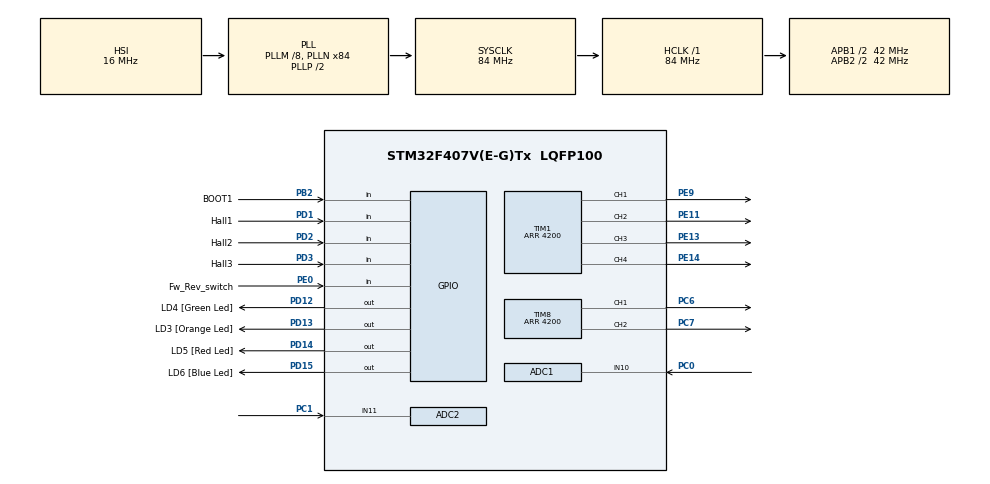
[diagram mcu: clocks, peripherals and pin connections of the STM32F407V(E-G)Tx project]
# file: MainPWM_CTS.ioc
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ADC1.Channel-4\#ChannelRegularConversion=ADC_CHANNEL_10
ADC1.ClockPrescaler=ADC_CLOCK_SYNC_PCLK_DIV2
ADC1.ContinuousConvMode=DISABLE
ADC1.DMAContinuousRequests=DISABLE
ADC1.DataAlign=ADC_DATAALIGN_RIGHT
ADC1.DiscontinuousConvMode=DISABLE
ADC1.EOCSelection=ADC_EOC_SEQ_CONV
ADC1.EnableAnalogWatchDog=false
ADC1.ExternalTrigConvEdge=ADC_EXTERNALTRIGCONVEDGE_NONE
ADC1.InjNumberOfConversion=0
ADC1.NbrOfConversion=1
ADC1.NbrOfConversionFlag=1
ADC1.Rank-4\#ChannelRegularConversion=1
ADC1.Resolution=ADC_RESOLUTION_12B
ADC1.SamplingTime-4\#ChannelRegularConversion=ADC_SAMPLETIME_3CYCLES
ADC1.ScanConvMode=DISABLE
ADC1.master=1
ADC2.Channel-0\#ChannelRegularConversion=ADC_CHANNEL_11
ADC2.ClockPrescaler=ADC_CLOCK_SYNC_PCLK_DIV2
ADC2.ContinuousConvMode=DISABLE
ADC2.DMAContinuousRequests=DISABLE
ADC2.DataAlign=ADC_DATAALIGN_RIGHT
ADC2.DiscontinuousConvMode=DISABLE
ADC2.EOCSelection=ADC_EOC_SEQ_CONV
ADC2.EnableAnalogWatchDog=false
ADC2.ExternalTrigConvEdge=ADC_EXTERNALTRIGCONVEDGE_NONE
ADC2.InjNumberOfConversion=0
ADC2.NbrOfConversion=1
ADC2.NbrOfConversionFlag=1
ADC2.Rank-0\#ChannelRegularConversion=1
ADC2.Resolution=ADC_RESOLUTION_12B
ADC2.SamplingTime-0\#ChannelRegularConversion=ADC_SAMPLETIME_3CYCLES
ADC2.ScanConvMode=DISABLE
Mcu.Family=STM32F4
Mcu.Name=STM32F407V(E-G)Tx
Mcu.Package=LQFP100
NVIC.PriorityGroup=NVIC_PRIORITYGROUP_0
NVIC.TIM3_IRQn=true\:0\:0\:false\:false\:true
PB2.GPIO_Label=BOOT1
PB2.GPIO_Mode=GPIO_MODE_INPUT
PB2.GPIO_PuPd=GPIO_NOPULL
PB2.Signal=GPIO_Input
PB3.GPIO_Label=SWO
PB3.Signal=SYS_JTDO-SWO
PC0.Signal=ADCx_IN10
PC1.Signal=ADCx_IN11
PC14-OSC32_IN.GPIO_Label=PC14-OSC32_IN
PC14-OSC32_IN.Signal=RCC_OSC32_IN
PC15-OSC32_OUT.GPIO_Label=PC15-OSC32_OUT
PC15-OSC32_OUT.Signal=RCC_OSC32_OUT
PC6.Signal=S_TIM8_CH1
PC7.Signal=S_TIM8_CH2
PD1.GPIO_Label=Hall1
PD1.Signal=GPIO_Input
PD12.GPIO_Label=LD4 [Green Led]
PD12.GPIO_PuPd=GPIO_NOPULL
PD12.GPIO_Speed=GPIO_SPEED_FREQ_LOW
PD12.Signal=GPIO_Output
PD13.GPIO_Label=LD3 [Orange Led]
PD13.GPIO_PuPd=GPIO_NOPULL
PD13.GPIO_Speed=GPIO_SPEED_FREQ_LOW
PD13.Signal=GPIO_Output
PD14.GPIO_Label=LD5 [Red Led]
PD14.GPIO_PuPd=GPIO_NOPULL
PD14.GPIO_Speed=GPIO_SPEED_FREQ_LOW
PD14.Signal=GPIO_Output
PD15.GPIO_Label=LD6 [Blue Led]
PD15.GPIO_PuPd=GPIO_NOPULL
PD15.GPIO_Speed=GPIO_SPEED_FREQ_LOW
PD15.Signal=GPIO_Output
PD2.GPIO_Label=Hall2
PD2.Signal=GPIO_Input
PD3.GPIO_Label=Hall3
PD3.Signal=GPIO_Input
PE0.GPIO_Label=Fw_Rev_switch
PE0.GPIO_PuPd=GPIO_PULLUP
PE0.Signal=GPIO_Input
PE11.Signal=S_TIM1_CH2
PE13.Signal=S_TIM1_CH3
PE14.Signal=S_TIM1_CH4
PE9.Signal=S_TIM1_CH1
PH0-OSC_IN.GPIO_Label=PH0-OSC_IN
PH0-OSC_IN.Signal=RCC_OSC_IN
PH1-OSC_OUT.GPIO_Label=PH1-OSC_OUT
PH1-OSC_OUT.Signal=RCC_OSC_OUT
ProjectManager.HeapSize=0x200
ProjectManager.StackSize=0x400
ProjectManager.TargetToolchain=MDK-ARM V5
RCC.48MHZClocksFreq_Value=24000000
RCC.AHBFreq_Value=84000000
RCC.APB1CLKDivider=RCC_HCLK_DIV2
RCC.APB1Freq_Value=42000000
RCC.APB1TimFreq_Value=84000000
RCC.APB2CLKDivider=RCC_HCLK_DIV2
RCC.APB2Freq_Value=42000000
RCC.APB2TimFreq_Value=84000000
RCC.CortexFreq_Value=84000000
RCC.HCLKFreq_Value=84000000
RCC.HSE_VALUE=8000000
RCC.HSI_VALUE=16000000
RCC.LSE_VALUE=32768
RCC.PLLM=8
RCC.PLLN=84
RCC.PLLQ=7
RCC.SYSCLKFreq_VALUE=84000000
RCC.SYSCLKSource=RCC_SYSCLKSOURCE_PLLCLK
RCC.VCOOutputFreq_Value=168000000
SH.ADCx_IN10.0=ADC1_IN10,IN10
SH.ADCx_IN11.0=ADC2_IN11,IN11
SH.S_TIM1_CH1.0=TIM1_CH1,PWM Generation1 CH1
SH.S_TIM1_CH2.0=TIM1_CH2,PWM Generation2 CH2
SH.S_TIM1_CH3.0=TIM1_CH3,PWM Generation3 CH3
SH.S_TIM1_CH4.0=TIM1_CH4,PWM Generation4 CH4
SH.S_TIM8_CH1.0=TIM8_CH1,PWM Generation1 CH1
SH.S_TIM8_CH2.0=TIM8_CH2,PWM Generation2 CH2
TIM1.Channel-PWM\ Generation2\ CH2=TIM_CHANNEL_2
TIM1.Channel-PWM\ Generation3\ CH3=TIM_CHANNEL_3
TIM1.Channel-PWM\ Generation4\ CH4=TIM_CHANNEL_4
TIM1.Period=4200
TIM1.Pulse-PWM\ Generation1\ CH1=0
TIM1.Pulse-PWM\ Generation2\ CH2=0
TIM1.Pulse-PWM\ Generation4\ CH4=0
TIM1.TIM_MasterOutputTrigger=TIM_TRGO_UPDATE
TIM1.TIM_MasterSlaveMode=TIM_MASTERSLAVEMODE_ENABLE
TIM3.Period=4200
TIM8.Channel-PWM\ Generation2\ CH2=TIM_CHANNEL_2
TIM8.Period=4200
TIM8.Pulse-PWM\ Generation1\ CH1=0
TIM8.Pulse-PWM\ Generation2\ CH2=0
TIM8.TIM_MasterOutputTrigger=TIM_TRGO_UPDATE
TIM8.TIM_MasterSlaveMode=TIM_MASTERSLAVEMODE_DISABLE
VP_TIM1_VS_ClockSourceINT.Mode=Internal
VP_TIM3_VS_ClockSourceINT.Mode=Internal
VP_TIM8_VS_ClockSourceINT.Mode=Internal
VP_TIM8_VS_ClockSourceITR.Mode=TriggerSource_ITR0
VP_TIM8_VS_ControllerModeReset.Mode=Reset Mode
board=STM32F407G-DISC1

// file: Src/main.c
/**
  ******************************************************************************
  * File Name          : main.c
  * Description        : Main program body
  ******************************************************************************
  *
  * COPYRIGHT(c) 2017 STMicroelectronics
  *
  * Redistribution and use in source and binary forms, with or without modification,
  * are permitted provided that the following conditions are met:
  *   1. Redistributions of source code must retain the above copyright notice,
  *      this list of conditions and the following disclaimer.
  *   2. Redistributions in binary form must reproduce the above copyright notice,
  *      this list of conditions and the following disclaimer in the documentation
  *      and/or other materials provided with the distribution.
  *   3. Neither the name of STMicroelectronics nor the names of its contributors
  *      may be used to endorse or promote products derived from this software
  *      without specific prior written permission.
  *
  * THIS SOFTWARE IS PROVIDED BY THE COPYRIGHT HOLDERS AND CONTRIBUTORS "AS IS"
  * AND ANY EXPRESS OR IMPLIED WARRANTIES, INCLUDING, BUT NOT LIMITED TO, THE
  * IMPLIED WARRANTIES OF MERCHANTABILITY AND FITNESS FOR A PARTICULAR PURPOSE ARE
  * DISCLAIMED. IN NO EVENT SHALL THE COPYRIGHT HOLDER OR CONTRIBUTORS BE LIABLE
  * FOR ANY DIRECT, INDIRECT, INCIDENTAL, SPECIAL, EXEMPLARY, OR CONSEQUENTIAL
  * DAMAGES (INCLUDING, BUT NOT LIMITED TO, PROCUREMENT OF SUBSTITUTE GOODS OR
  * SERVICES; LOSS OF USE, DATA, OR PROFITS; OR BUSINESS INTERRUPTION) HOWEVER
  * CAUSED AND ON ANY THEORY OF LIABILITY, WHETHER IN CONTRACT, STRICT LIABILITY,
  * OR TORT (INCLUDING NEGLIGENCE OR OTHERWISE) ARISING IN ANY WAY OUT OF THE USE
  * OF THIS SOFTWARE, EVEN IF ADVISED OF THE POSSIBILITY OF SUCH DAMAGE.
  *
  ******************************************************************************
  */
#include "stm32f4xx_hal.h"

/* USER CODE BEGIN Includes */
#include <stdbool.h>
#include <stdlib.h>
/* USER CODE END Includes */

ADC_HandleTypeDef hadc1;
ADC_HandleTypeDef hadc2;

TIM_HandleTypeDef htim1;
TIM_HandleTypeDef htim3;
TIM_HandleTypeDef htim8;

/* USER CODE BEGIN PV */
/* Private variables ---------------------------------------------------------*/
bool Phase_1_High,Phase_1_Low, Phase_2_High, Phase_2_Low, Phase_3_High, Phase_3_Low, Hall_1, Hall_2, Hall_3;

const uint8_t BRIDGE_STEPS_FORWARD[8][6] =   // Motor step //A B C
{
    { false,false   ,   false,false   ,  false,false },  // HighZ
    { false,false   ,   false, true   ,  true, false },  // h 1, step 6
    { false,true    ,   true ,false   ,  false,false },  // h 2, step 4
    { false,true    ,   false,false   ,  true ,false },  // h 3, step 5
    { true ,false   ,   false,false   ,  false,true  },  // h 4, step 2
    { true ,false   ,   false,true    ,  false,false },  // h 5, step 1
    { false,false   ,   true, false   ,  false,true  },  // h 6, step 3
    { false,false   ,   false,false   ,  false,false },  // HighZ
};

const uint8_t BRIDGE_STEPS_REVERSE[8][6] =   // Motor step //A B C
{
    { false,false   ,   false,false   ,  false,false },  // HighZ

    { false,false   ,   true ,false   ,  false, true },  // h 1, step 6
    { true ,false   ,   false,true    ,  false,false },  // h 2, step 4
    { true ,false   ,   false,false   ,  false,true  },  // h 3, step 5
    { false,true    ,   false,false   ,  true ,false },  // h 4, step 2
    { false,true    ,   true ,false   ,  false,false },  // h 5, step 1
    { false,false   ,   false, true   ,  true ,false },  // h 6, step 3

    { false,false   ,   false,false   ,  false,false },  // HighZ

};

uint32_t globalHeartbeat_50us, heartbeat_100us, heartbeat_1ms, heartbeat_10ms,led_state, hallEffectTick,diff;
uint16_t brakePedalVlaue_raw, brakePedalVlaue_scaled, accelPedalValue_scaled, accelPedalValue_raw, brakeMax_in, brakeMin_in, brakeRange, accelMax_in, accelMin_in, accelRange, hallSpeed, demandedSpeed, measuredSpeed;
uint8_t avgCurrent, currentSum, systemState, hallPosition, lastHallPosition;

float Kp, Ki;

int speedError, speedErrorSum, controlOutput;

bool pidEnabled = false;
bool gearForward = true;
bool deadManSwitch = true;
/* USER CODE END PV */

void SystemClock_Config(void);
void Error_Handler(void);
static void MX_GPIO_Init(void);
static void MX_TIM1_Init(void);
static void MX_TIM3_Init(void);
static void MX_TIM8_Init(void);
static void MX_ADC1_Init(void);
static void MX_ADC2_Init(void);

void HAL_TIM_MspPostInit(TIM_HandleTypeDef *htim);

/* USER CODE BEGIN PFP */
/* Private function prototypes -----------------------------------------------*/

/* USER CODE END PFP */

/* USER CODE BEGIN 0 */

void HAL_TIM_PeriodElapsedCallback(TIM_HandleTypeDef *htim){
    globalHeartbeat_50us++;
    //HAL_GPIO_TogglePin(GPIOD, LD3_Pin);
}

void LED_stateMachine (void) {
    switch (systemState) {
    case 0:
        if ((globalHeartbeat_50us - led_state) > 20000) {
            HAL_GPIO_TogglePin(GPIOD, LD4_Pin);
    		led_state = globalHeartbeat_50us;
    	}

    	if (Hall_1)
    		HAL_GPIO_WritePin(GPIOD, LD3_Pin, GPIO_PIN_SET);
    	else
    		HAL_GPIO_WritePin(GPIOD, LD3_Pin, GPIO_PIN_RESET);

    	if (Hall_2)
    		HAL_GPIO_WritePin(GPIOD, LD5_Pin, GPIO_PIN_SET);
    	else
    		HAL_GPIO_WritePin(GPIOD, LD5_Pin, GPIO_PIN_RESET);

    	if (Hall_3)
    		HAL_GPIO_WritePin(GPIOD, LD6_Pin, GPIO_PIN_SET);
    	else
    		HAL_GPIO_WritePin(GPIOD, LD6_Pin, GPIO_PIN_RESET);

    break;

    case 1: //hall effect problem
        if ((globalHeartbeat_50us - led_state) > 10000) {
            HAL_GPIO_WritePin(GPIOD, LD4_Pin,GPIO_PIN_RESET);

    		//toggle hall effect LEDs
    		HAL_GPIO_TogglePin(GPIOD, LD3_Pin);
    		HAL_GPIO_TogglePin(GPIOD, LD5_Pin);
    		HAL_GPIO_TogglePin(GPIOD, LD6_Pin);

    		led_state = globalHeartbeat_50us;
    	}
    break;

    case 99: //hall effect problem
      if ((globalHeartbeat_50us - led_state) > 5000) {
        HAL_GPIO_WritePin(GPIOD, LD4_Pin,GPIO_PIN_RESET);
        HAL_GPIO_WritePin(GPIOD, LD3_Pin,GPIO_PIN_RESET);
  		  HAL_GPIO_WritePin(GPIOD, LD6_Pin,GPIO_PIN_RESET);

    		//toggle red LED
    		HAL_GPIO_TogglePin(GPIOD, LD5_Pin);

    		led_state = globalHeartbeat_50us;
    	}
    break;
    }
}

/* USER CODE END 0 */

int main(void)
{

  /* USER CODE BEGIN 1 */
    //initialise counters
    globalHeartbeat_50us = 0;
    heartbeat_100us = 0;
    heartbeat_1ms = 0;
    heartbeat_10ms = 0;
		hallEffectTick = 0 ;
    led_state = 0;
    systemState = 0;

    demandedSpeed = 0;
    measuredSpeed = 0;
    controlOutput = 0;
    speedError = 0;
    speedErrorSum = 0;

    Kp = 1;
    Ki = 0.1;

    accelPedalValue_scaled = 5000;

    //initialise mosfet states
    Phase_1_High = false; Phase_1_Low = false;
    Phase_2_High = false; Phase_2_Low = false;
    Phase_3_High = false; Phase_3_Low = false;
    Hall_1 = true; Hall_2 = true; Hall_3 = false;

    brakeMin_in = 1080;
    brakeMax_in = 2895;
    brakeRange = (brakeMax_in - brakeMin_in);

    accelMin_in = 1080;
    accelMax_in = 2895;
    accelRange = (accelMax_in - accelMin_in);

  /* USER CODE END 1 */

  /* MCU Configuration----------------------------------------------------------*/

  /* Reset of all peripherals, Initializes the Flash interface and the Systick. */
  HAL_Init();

  /* Configure the system clock */
  SystemClock_Config();

  /* Initialize all configured peripherals */
  MX_GPIO_Init();
  MX_TIM1_Init();
  MX_TIM3_Init();
  MX_TIM8_Init();
  MX_ADC1_Init();
  MX_ADC2_Init();

  /* USER CODE BEGIN 2 */

	HAL_TIM_Base_Start_IT(&htim3);
	HAL_TIM_PWM_Start(&htim3,TIM_CHANNEL_1);

	HAL_TIM_Base_Start_IT(&htim1);
	HAL_TIM_PWM_Start(&htim1,TIM_CHANNEL_1);
	HAL_TIM_PWM_Start(&htim1,TIM_CHANNEL_2);
	HAL_TIM_PWM_Start(&htim1,TIM_CHANNEL_3);
	HAL_TIM_PWM_Start(&htim1,TIM_CHANNEL_4);

	HAL_TIM_PWM_Start(&htim8,TIM_CHANNEL_1);
	HAL_TIM_PWM_Start(&htim8,TIM_CHANNEL_2);

//HAL_Delay(5000);
//Hall_1 = true; Hall_2 = true; Hall_3 = false;

	HAL_ADC_Start(&hadc1);
	HAL_ADC_Start(&hadc2);

	Hall_1 = HAL_GPIO_ReadPin(GPIOD, Hall1_Pin);
	Hall_2 = HAL_GPIO_ReadPin(GPIOD, Hall2_Pin);
	Hall_3 = HAL_GPIO_ReadPin(GPIOD, Hall3_Pin);

	hallPosition = (Hall_1<<2) + (Hall_2<<1) + (Hall_3);
	lastHallPosition = hallPosition;
  /* USER CODE END 2 */

  /* Infinite loop */
  /* USER CODE BEGIN WHILE */
  while (1)
	{
		diff = globalHeartbeat_50us - heartbeat_100us;
		if (diff & 0x8000) {
     diff = ~diff + 1;
		}

    if (diff > 2) {
      heartbeat_100us = globalHeartbeat_50us;
			//100us stuff
			//commutation
			//calculate speed and position for control

      Hall_1 = HAL_GPIO_ReadPin(GPIOD, Hall1_Pin);
      Hall_2 = HAL_GPIO_ReadPin(GPIOD, Hall2_Pin);
      Hall_3 = HAL_GPIO_ReadPin(GPIOD, Hall3_Pin);

      //compile hall effect values
			hallPosition = (Hall_1<<2) + (Hall_2<<1) + (Hall_3);

      //calcluate speed
      if (hallPosition != lastHallPosition) {
        hallSpeed = (int)((((float)1000000)/ (6*(globalHeartbeat_50us - hallEffectTick)*50))*60); //in RPM
        measuredSpeed = hallSpeed;
        hallEffectTick = globalHeartbeat_50us;
        lastHallPosition = hallPosition;
      }

			if (!deadManSwitch) {
				//person is dead :O !!
				systemState = 99;
				TIM1->CCR1 = 0;
				TIM1->CCR2 = 0;
				TIM1->CCR3 = 0;
				TIM1->CCR4 = 0;
				TIM8->CCR1 = 0;
				TIM8->CCR2 = 0;

			} else if (brakePedalVlaue_scaled > 40) {
        systemState = 0;
	      //braking
				TIM1->CCR1 = 0;
				TIM1->CCR2 = brakePedalVlaue_scaled;
				TIM1->CCR3 = 0;
				TIM1->CCR4 = brakePedalVlaue_scaled;
				TIM8->CCR1 = 0;
				TIM8->CCR2 = brakePedalVlaue_scaled;

        HAL_TIM_PWM_Start(&htim1, TIM_CHANNEL_1);
        HAL_TIM_PWM_Start(&htim1, TIM_CHANNEL_2);
        HAL_TIM_PWM_Start(&htim1, TIM_CHANNEL_3);
        HAL_TIM_PWM_Start(&htim1, TIM_CHANNEL_4);

        HAL_TIM_PWM_Start(&htim8, TIM_CHANNEL_1);
        HAL_TIM_PWM_Start(&htim8, TIM_CHANNEL_2);

			} else {
        //systemState = 1;

				// TIM1->CCR1 = 0;
				// TIM1->CCR2 = 0;
				// TIM1->CCR3 = 0;
				// TIM1->CCR4 = 0;
				// TIM8->CCR1 = 0;
				// TIM8->CCR2 = 0;

				if ((hallPosition <=6) && (hallPosition >=1)) {
          systemState = 0;

		      if (!gearForward){
						Phase_1_High = BRIDGE_STEPS_REVERSE[hallPosition][0];
						Phase_1_Low = BRIDGE_STEPS_REVERSE[hallPosition][1];

						Phase_2_High = BRIDGE_STEPS_REVERSE[hallPosition][2];
						Phase_2_Low = BRIDGE_STEPS_REVERSE[hallPosition][3];

						Phase_3_High = BRIDGE_STEPS_REVERSE[hallPosition][4];
						Phase_3_Low = BRIDGE_STEPS_REVERSE[hallPosition][5];

					} else {
						Phase_1_High = BRIDGE_STEPS_FORWARD[hallPosition][0];
						Phase_1_Low = BRIDGE_STEPS_FORWARD[hallPosition][1];

						Phase_2_High = BRIDGE_STEPS_FORWARD[hallPosition][2];
						Phase_2_Low = BRIDGE_STEPS_FORWARD[hallPosition][3];

						Phase_3_High = BRIDGE_STEPS_FORWARD[hallPosition][4];
						Phase_3_Low = BRIDGE_STEPS_FORWARD[hallPosition][5];
					}

					// HAL_TIM_PWM_Stop(&htim1, TIM_CHANNEL_1);
					// HAL_TIM_PWM_Stop(&htim1, TIM_CHANNEL_2);
					// HAL_TIM_PWM_Stop(&htim1, TIM_CHANNEL_3);
					// HAL_TIM_PWM_Stop(&htim1, TIM_CHANNEL_4);
          //
					// HAL_TIM_PWM_Stop(&htim8, TIM_CHANNEL_1);
					// HAL_TIM_PWM_Stop(&htim8, TIM_CHANNEL_2);

          if (pidEnabled) {
            TIM1->CCR1 = Phase_1_High *controlOutput;
  					TIM1->CCR2 = Phase_1_Low *controlOutput;
  					TIM1->CCR3 = Phase_2_High *controlOutput;
  					TIM1->CCR4 = Phase_2_Low *controlOutput;
  					TIM8->CCR1 = Phase_3_High *controlOutput;
  					TIM8->CCR2 = Phase_3_Low *controlOutput;

          } else {
  					TIM1->CCR1 = Phase_1_High *accelPedalValue_scaled;
  					TIM1->CCR2 = Phase_1_Low *accelPedalValue_scaled;
  					TIM1->CCR3 = Phase_2_High *accelPedalValue_scaled;
  					TIM1->CCR4 = Phase_2_Low *accelPedalValue_scaled;
  					TIM8->CCR1 = Phase_3_High *accelPedalValue_scaled;
  					TIM8->CCR2 = Phase_3_Low *accelPedalValue_scaled;
          }
					// if (Phase_1_High) {
          //   TIM1->CCR2 = 0;
					//   TIM1->CCR1 = accelPedalValue_scaled;
					// } else {
					//   TIM1->CCR1 = 0;
					//   TIM1->CCR2 = accelPedalValue_scaled;
					// }
          //
					// if (Phase_2_High) {
          //   TIM1->CCR4 = 0;
          //   TIM1->CCR3 = accelPedalValue_scaled;
					// } else {
					//   TIM1->CCR3 = 0;
					//   TIM1->CCR4 = accelPedalValue_scaled;
					// }
          //
					// if (Phase_3_High) {
          //   TIM8->CCR2 = 0;
          //   TIM8->CCR1 = accelPedalValue_scaled;
					// } else {
					//   TIM8->CCR1 = 0;
					//   TIM8->CCR2 = accelPedalValue_scaled;
					// }

					//HAL_TIM_Base_Start_IT(&htim1);

					HAL_TIM_PWM_Start(&htim1, TIM_CHANNEL_1);
					HAL_TIM_PWM_Start(&htim1, TIM_CHANNEL_2);
					HAL_TIM_PWM_Start(&htim1, TIM_CHANNEL_3);
					HAL_TIM_PWM_Start(&htim1, TIM_CHANNEL_4);

					HAL_TIM_PWM_Start(&htim8, TIM_CHANNEL_1);
					HAL_TIM_PWM_Start(&htim8, TIM_CHANNEL_2);

				} else {
					//something is wrong with the hall sensors.. STOPPP

					systemState = 1;
					HAL_TIM_PWM_Stop(&htim1, TIM_CHANNEL_1);
					HAL_TIM_PWM_Stop(&htim1, TIM_CHANNEL_2);
					HAL_TIM_PWM_Stop(&htim1, TIM_CHANNEL_3);
					HAL_TIM_PWM_Stop(&htim1, TIM_CHANNEL_4);

					HAL_TIM_PWM_Stop(&htim8, TIM_CHANNEL_1);
					HAL_TIM_PWM_Stop(&htim8, TIM_CHANNEL_2);
				}
			}
    }

		diff = globalHeartbeat_50us -  heartbeat_1ms;
		if (diff & 0x8000) {
			diff = ~diff + 1;
		}

		if (diff > 20) {
  		heartbeat_1ms = globalHeartbeat_50us;
  		//1ms stuff
      speedError = demandedSpeed - measuredSpeed;
      controlOutput =  abs(speedError*Kp + speedErrorSum*Ki);

      speedErrorSum += speedError;
  		//speed regulator
  		//over current protection

  	}

		diff = globalHeartbeat_50us -  heartbeat_10ms;
		if (diff & 0x8000) {
     diff = ~diff + 1;
		}

  	if (diff > 200) {
      heartbeat_10ms = globalHeartbeat_50us;
  		//10ms stuff
  		//get pedal values

  		brakePedalVlaue_raw = HAL_ADC_GetValue(&hadc2);
			if (brakePedalVlaue_raw <= brakeMin_in)
				brakePedalVlaue_scaled = 0;
			else
				brakePedalVlaue_scaled = (int)(4200*((float)(brakePedalVlaue_raw - brakeMin_in)/brakeRange));
//
//      if ((brakePedalVlaue_scaled<50)) {
//        brakePedalVlaue_scaled = 0;
//      }

  		accelPedalValue_raw = HAL_ADC_GetValue(&hadc1);

			if (accelPedalValue_raw <= accelMin_in) {
				accelPedalValue_scaled = 0;
        demandedSpeed = 0;
			} else {
				accelPedalValue_scaled = (int)(4200*((float)(accelPedalValue_raw-accelMin_in)/accelRange));
        demandedSpeed = (int)(200*((float)(accelPedalValue_raw-accelMin_in)/accelRange));
			}

  		if (accelPedalValue_scaled<30) {
  			accelPedalValue_scaled = 0;
  		}

  		gearForward = (bool)HAL_GPIO_ReadPin(Fw_Rev_switch_GPIO_Port, Fw_Rev_switch_Pin);

  		HAL_ADC_Start(&hadc1);
  		HAL_ADC_Start(&hadc2);
  		//slew rate limiting for velocity (acceleration/deceleration control)
  	}

    LED_stateMachine();
  /* USER CODE END WHILE */

	}

}

/** System Clock Configuration
*/
void SystemClock_Config(void)
{

  RCC_OscInitTypeDef RCC_OscInitStruct;
  RCC_ClkInitTypeDef RCC_ClkInitStruct;

  __HAL_RCC_PWR_CLK_ENABLE();

  __HAL_PWR_VOLTAGESCALING_CONFIG(PWR_REGULATOR_VOLTAGE_SCALE1);

  RCC_OscInitStruct.OscillatorType = RCC_OSCILLATORTYPE_HSI;
  RCC_OscInitStruct.HSIState = RCC_HSI_ON;
  RCC_OscInitStruct.HSICalibrationValue = 16;
  RCC_OscInitStruct.PLL.PLLState = RCC_PLL_ON;
  RCC_OscInitStruct.PLL.PLLSource = RCC_PLLSOURCE_HSI;
  RCC_OscInitStruct.PLL.PLLM = 8;
  RCC_OscInitStruct.PLL.PLLN = 84;
  RCC_OscInitStruct.PLL.PLLP = RCC_PLLP_DIV2;
  RCC_OscInitStruct.PLL.PLLQ = 7;
  if (HAL_RCC_OscConfig(&RCC_OscInitStruct) != HAL_OK)
  {
    Error_Handler();
  }

  RCC_ClkInitStruct.ClockType = RCC_CLOCKTYPE_HCLK|RCC_CLOCKTYPE_SYSCLK
                              |RCC_CLOCKTYPE_PCLK1|RCC_CLOCKTYPE_PCLK2;
  RCC_ClkInitStruct.SYSCLKSource = RCC_SYSCLKSOURCE_PLLCLK;
  RCC_ClkInitStruct.AHBCLKDivider = RCC_SYSCLK_DIV1;
  RCC_ClkInitStruct.APB1CLKDivider = RCC_HCLK_DIV2;
  RCC_ClkInitStruct.APB2CLKDivider = RCC_HCLK_DIV2;
  if (HAL_RCC_ClockConfig(&RCC_ClkInitStruct, FLASH_LATENCY_2) != HAL_OK)
  {
    Error_Handler();
  }

  HAL_SYSTICK_Config(HAL_RCC_GetHCLKFreq()/1000);

  HAL_SYSTICK_CLKSourceConfig(SYSTICK_CLKSOURCE_HCLK);

  /* SysTick_IRQn interrupt configuration */
  HAL_NVIC_SetPriority(SysTick_IRQn, 0, 0);
}

/* ADC1 init function */
static void MX_ADC1_Init(void)
{

  ADC_ChannelConfTypeDef sConfig;

    /**Configure the global features of the ADC (Clock, Resolution, Data Alignment and number of conversion)
    */
  hadc1.Instance = ADC1;
  hadc1.Init.ClockPrescaler = ADC_CLOCK_SYNC_PCLK_DIV2;
  hadc1.Init.Resolution = ADC_RESOLUTION_12B;
  hadc1.Init.ScanConvMode = DISABLE;
  hadc1.Init.ContinuousConvMode = DISABLE;
  hadc1.Init.DiscontinuousConvMode = DISABLE;
  hadc1.Init.ExternalTrigConvEdge = ADC_EXTERNALTRIGCONVEDGE_NONE;
  hadc1.Init.DataAlign = ADC_DATAALIGN_RIGHT;
  hadc1.Init.NbrOfConversion = 1;
  hadc1.Init.DMAContinuousRequests = DISABLE;
  hadc1.Init.EOCSelection = ADC_EOC_SEQ_CONV;
  if (HAL_ADC_Init(&hadc1) != HAL_OK)
  {
    Error_Handler();
  }

    /**Configure for the selected ADC regular channel its corresponding rank in the sequencer and its sample time.
    */
  sConfig.Channel = ADC_CHANNEL_10;
  sConfig.Rank = 1;
  sConfig.SamplingTime = ADC_SAMPLETIME_3CYCLES;
  if (HAL_ADC_ConfigChannel(&hadc1, &sConfig) != HAL_OK)
  {
    Error_Handler();
  }

}

/* ADC2 init function */
static void MX_ADC2_Init(void)
{

  ADC_ChannelConfTypeDef sConfig;

    /**Configure the global features of the ADC (Clock, Resolution, Data Alignment and number of conversion)
    */
  hadc2.Instance = ADC2;
  hadc2.Init.ClockPrescaler = ADC_CLOCK_SYNC_PCLK_DIV2;
  hadc2.Init.Resolution = ADC_RESOLUTION_12B;
  hadc2.Init.ScanConvMode = DISABLE;
  hadc2.Init.ContinuousConvMode = DISABLE;
  hadc2.Init.DiscontinuousConvMode = DISABLE;
  hadc2.Init.ExternalTrigConvEdge = ADC_EXTERNALTRIGCONVEDGE_NONE;
  hadc2.Init.DataAlign = ADC_DATAALIGN_RIGHT;
  hadc2.Init.NbrOfConversion = 1;
  hadc2.Init.DMAContinuousRequests = DISABLE;
  hadc2.Init.EOCSelection = ADC_EOC_SEQ_CONV;
  if (HAL_ADC_Init(&hadc2) != HAL_OK)
  {
    Error_Handler();
  }

    /**Configure for the selected ADC regular channel its corresponding rank in the sequencer and its sample time.
    */
  sConfig.Channel = ADC_CHANNEL_11;
  sConfig.Rank = 1;
  sConfig.SamplingTime = ADC_SAMPLETIME_3CYCLES;
  if (HAL_ADC_ConfigChannel(&hadc2, &sConfig) != HAL_OK)
  {
    Error_Handler();
  }

}

/* TIM1 init function */
static void MX_TIM1_Init(void)
{

  TIM_ClockConfigTypeDef sClockSourceConfig;
  TIM_MasterConfigTypeDef sMasterConfig;
  TIM_BreakDeadTimeConfigTypeDef sBreakDeadTimeConfig;
  TIM_OC_InitTypeDef sConfigOC;

  htim1.Instance = TIM1;
  htim1.Init.Prescaler = 0;
  htim1.Init.CounterMode = TIM_COUNTERMODE_UP;
  htim1.Init.Period = 4200;
  htim1.Init.ClockDivision = TIM_CLOCKDIVISION_DIV1;
  htim1.Init.RepetitionCounter = 0;
  if (HAL_TIM_Base_Init(&htim1) != HAL_OK)
  {
    Error_Handler();
  }

  sClockSourceConfig.ClockSource = TIM_CLOCKSOURCE_INTERNAL;
  if (HAL_TIM_ConfigClockSource(&htim1, &sClockSourceConfig) != HAL_OK)
  {
    Error_Handler();
  }

  if (HAL_TIM_PWM_Init(&htim1) != HAL_OK)
  {
    Error_Handler();
  }

  sMasterConfig.MasterOutputTrigger = TIM_TRGO_UPDATE;
  sMasterConfig.MasterSlaveMode = TIM_MASTERSLAVEMODE_ENABLE;
  if (HAL_TIMEx_MasterConfigSynchronization(&htim1, &sMasterConfig) != HAL_OK)
  {
    Error_Handler();
  }

  sBreakDeadTimeConfig.OffStateRunMode = TIM_OSSR_DISABLE;
  sBreakDeadTimeConfig.OffStateIDLEMode = TIM_OSSI_DISABLE;
  sBreakDeadTimeConfig.LockLevel = TIM_LOCKLEVEL_OFF;
  sBreakDeadTimeConfig.DeadTime = 0;
  sBreakDeadTimeConfig.BreakState = TIM_BREAK_DISABLE;
  sBreakDeadTimeConfig.BreakPolarity = TIM_BREAKPOLARITY_HIGH;
  sBreakDeadTimeConfig.AutomaticOutput = TIM_AUTOMATICOUTPUT_DISABLE;
  if (HAL_TIMEx_ConfigBreakDeadTime(&htim1, &sBreakDeadTimeConfig) != HAL_OK)
  {
    Error_Handler();
  }

  sConfigOC.OCMode = TIM_OCMODE_PWM1;
  sConfigOC.Pulse = 0;
  sConfigOC.OCPolarity = TIM_OCPOLARITY_HIGH;
  sConfigOC.OCNPolarity = TIM_OCNPOLARITY_HIGH;
  sConfigOC.OCFastMode = TIM_OCFAST_DISABLE;
  sConfigOC.OCIdleState = TIM_OCIDLESTATE_RESET;
  sConfigOC.OCNIdleState = TIM_OCNIDLESTATE_RESET;
  if (HAL_TIM_PWM_ConfigChannel(&htim1, &sConfigOC, TIM_CHANNEL_1) != HAL_OK)
  {
    Error_Handler();
  }

  if (HAL_TIM_PWM_ConfigChannel(&htim1, &sConfigOC, TIM_CHANNEL_2) != HAL_OK)
  {
    Error_Handler();
  }

  if (HAL_TIM_PWM_ConfigChannel(&htim1, &sConfigOC, TIM_CHANNEL_3) != HAL_OK)
  {
    Error_Handler();
  }

  if (HAL_TIM_PWM_ConfigChannel(&htim1, &sConfigOC, TIM_CHANNEL_4) != HAL_OK)
  {
    Error_Handler();
  }

  HAL_TIM_MspPostInit(&htim1);

}

/* TIM3 init function */
static void MX_TIM3_Init(void)
{

  TIM_ClockConfigTypeDef sClockSourceConfig;
  TIM_MasterConfigTypeDef sMasterConfig;

  htim3.Instance = TIM3;
  htim3.Init.Prescaler = 0;
  htim3.Init.CounterMode = TIM_COUNTERMODE_UP;
  htim3.Init.Period = 2100;
  htim3.Init.ClockDivision = TIM_CLOCKDIVISION_DIV1;
  if (HAL_TIM_Base_Init(&htim3) != HAL_OK)
  {
    Error_Handler();
  }

  sClockSourceConfig.ClockSource = TIM_CLOCKSOURCE_INTERNAL;
  if (HAL_TIM_ConfigClockSource(&htim3, &sClockSourceConfig) != HAL_OK)
  {
    Error_Handler();
  }

  sMasterConfig.MasterOutputTrigger = TIM_TRGO_RESET;
  sMasterConfig.MasterSlaveMode = TIM_MASTERSLAVEMODE_DISABLE;
  if (HAL_TIMEx_MasterConfigSynchronization(&htim3, &sMasterConfig) != HAL_OK)
  {
    Error_Handler();
  }

}

/* TIM8 init function */
static void MX_TIM8_Init(void)
{

  TIM_ClockConfigTypeDef sClockSourceConfig;
  TIM_SlaveConfigTypeDef sSlaveConfig;
  TIM_MasterConfigTypeDef sMasterConfig;
  TIM_BreakDeadTimeConfigTypeDef sBreakDeadTimeConfig;
  TIM_OC_InitTypeDef sConfigOC;

  htim8.Instance = TIM8;
  htim8.Init.Prescaler = 0;
  htim8.Init.CounterMode = TIM_COUNTERMODE_UP;
  htim8.Init.Period = 4200;
  htim8.Init.ClockDivision = TIM_CLOCKDIVISION_DIV1;
  htim8.Init.RepetitionCounter = 0;
  if (HAL_TIM_Base_Init(&htim8) != HAL_OK)
  {
    Error_Handler();
  }

  sClockSourceConfig.ClockSource = TIM_CLOCKSOURCE_INTERNAL;
  if (HAL_TIM_ConfigClockSource(&htim8, &sClockSourceConfig) != HAL_OK)
  {
    Error_Handler();
  }

  if (HAL_TIM_PWM_Init(&htim8) != HAL_OK)
  {
    Error_Handler();
  }

  sSlaveConfig.SlaveMode = TIM_SLAVEMODE_RESET;
  sSlaveConfig.InputTrigger = TIM_TS_ITR0;
  if (HAL_TIM_SlaveConfigSynchronization(&htim8, &sSlaveConfig) != HAL_OK)
  {
    Error_Handler();
  }

  sMasterConfig.MasterOutputTrigger = TIM_TRGO_UPDATE;
  sMasterConfig.MasterSlaveMode = TIM_MASTERSLAVEMODE_DISABLE;
  if (HAL_TIMEx_MasterConfigSynchronization(&htim8, &sMasterConfig) != HAL_OK)
  {
    Error_Handler();
  }

  sBreakDeadTimeConfig.OffStateRunMode = TIM_OSSR_DISABLE;
  sBreakDeadTimeConfig.OffStateIDLEMode = TIM_OSSI_DISABLE;
  sBreakDeadTimeConfig.LockLevel = TIM_LOCKLEVEL_OFF;
  sBreakDeadTimeConfig.DeadTime = 0;
  sBreakDeadTimeConfig.BreakState = TIM_BREAK_DISABLE;
  sBreakDeadTimeConfig.BreakPolarity = TIM_BREAKPOLARITY_HIGH;
  sBreakDeadTimeConfig.AutomaticOutput = TIM_AUTOMATICOUTPUT_DISABLE;
  if (HAL_TIMEx_ConfigBreakDeadTime(&htim8, &sBreakDeadTimeConfig) != HAL_OK)
  {
    Error_Handler();
  }

  sConfigOC.OCMode = TIM_OCMODE_PWM1;
  sConfigOC.Pulse = 0;
  sConfigOC.OCPolarity = TIM_OCPOLARITY_HIGH;
  sConfigOC.OCNPolarity = TIM_OCNPOLARITY_HIGH;
  sConfigOC.OCFastMode = TIM_OCFAST_DISABLE;
  sConfigOC.OCIdleState = TIM_OCIDLESTATE_RESET;
  sConfigOC.OCNIdleState = TIM_OCNIDLESTATE_RESET;
  if (HAL_TIM_PWM_ConfigChannel(&htim8, &sConfigOC, TIM_CHANNEL_1) != HAL_OK)
  {
    Error_Handler();
  }

  if (HAL_TIM_PWM_ConfigChannel(&htim8, &sConfigOC, TIM_CHANNEL_2) != HAL_OK)
  {
    Error_Handler();
  }

  HAL_TIM_MspPostInit(&htim8);

}

/** Configure pins as
        * Analog
        * Input
        * Output
        * EVENT_OUT
        * EXTI
*/
static void MX_GPIO_Init(void)
{

  GPIO_InitTypeDef GPIO_InitStruct;

  /* GPIO Ports Clock Enable */
  __HAL_RCC_GPIOC_CLK_ENABLE();
  __HAL_RCC_GPIOH_CLK_ENABLE();
  __HAL_RCC_GPIOB_CLK_ENABLE();
  __HAL_RCC_GPIOE_CLK_ENABLE();
  __HAL_RCC_GPIOD_CLK_ENABLE();

  /*Configure GPIO pin : BOOT1_Pin */
  GPIO_InitStruct.Pin = BOOT1_Pin;
  GPIO_InitStruct.Mode = GPIO_MODE_INPUT;
  GPIO_InitStruct.Pull = GPIO_NOPULL;
  HAL_GPIO_Init(BOOT1_GPIO_Port, &GPIO_InitStruct);

  /*Configure GPIO pins : LD4_Pin LD3_Pin LD5_Pin LD6_Pin */
  GPIO_InitStruct.Pin = LD4_Pin|LD3_Pin|LD5_Pin|LD6_Pin;
  GPIO_InitStruct.Mode = GPIO_MODE_OUTPUT_PP;
  GPIO_InitStruct.Pull = GPIO_NOPULL;
  GPIO_InitStruct.Speed = GPIO_SPEED_FREQ_LOW;
  HAL_GPIO_Init(GPIOD, &GPIO_InitStruct);

  /*Configure GPIO pins : Hall1_Pin Hall2_Pin Hall3_Pin */
  GPIO_InitStruct.Pin = Hall1_Pin|Hall2_Pin|Hall3_Pin;
  GPIO_InitStruct.Mode = GPIO_MODE_INPUT;
  GPIO_InitStruct.Pull = GPIO_NOPULL;
  HAL_GPIO_Init(GPIOD, &GPIO_InitStruct);

  /*Configure GPIO pin : Fw_Rev_switch_Pin */
  GPIO_InitStruct.Pin = Fw_Rev_switch_Pin;
  GPIO_InitStruct.Mode = GPIO_MODE_INPUT;
  GPIO_InitStruct.Pull = GPIO_PULLUP;
  HAL_GPIO_Init(Fw_Rev_switch_GPIO_Port, &GPIO_InitStruct);

  /*Configure GPIO pin Output Level */
  HAL_GPIO_WritePin(GPIOD, LD4_Pin|LD3_Pin|LD5_Pin|LD6_Pin, GPIO_PIN_RESET);

}

void Error_Handler(void)
{
  while(1)
  {
  }
}

/************************ (C) COPYRIGHT STMicroelectronics *****END OF FILE****/
